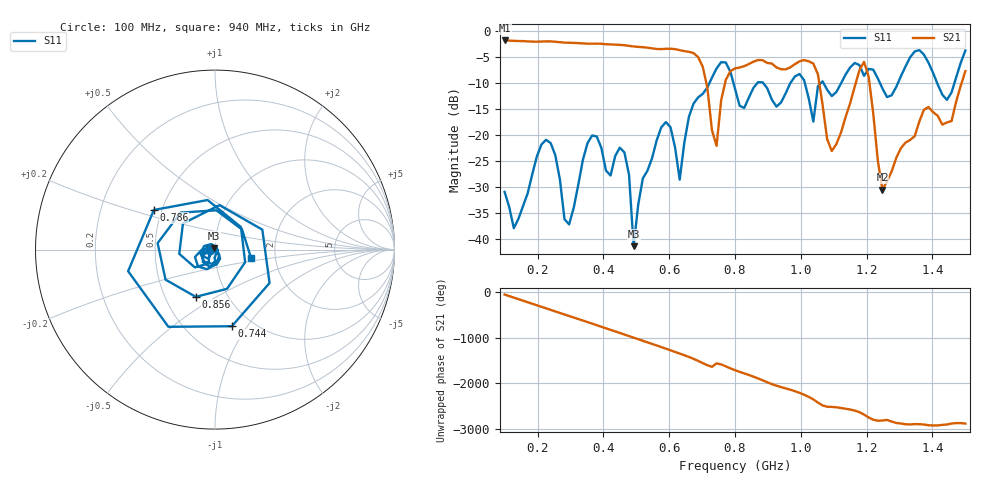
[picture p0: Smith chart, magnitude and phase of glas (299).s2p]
! NanoVNA-App
! Date: 2025-09-25 15:57:48
! Start: 100MHz Stop: 1,5GHz Points: 101
! S-Parameter data: F S11 S21 S12 S22
# Hz S RI R 50
!  Frequency  S11_Real  S11_Imag  S21_Real  S21_Imag  S12_Real  S12_Imag  S22_Real  S22_Imag
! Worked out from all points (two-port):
!   101 points, 100 MHz to 1.5 GHz, reference 50 ohm
!   highest |S21| = -1.80 dB at 100 MHz (marker M1); lowest = -30.5 dB at 1.248 GHz (marker M2)
!   |S21| within 3 dB of the highest: start of sweep to 684.3 MHz
!   lowest |S11| = -41.4 dB at 492 MHz (marker M3), VSWR 1.02, Z = 49.5 + j0.659 ohm
!   |S11| at or under -10 dB: start of sweep to 722.4 MHz; 795.3 MHz to 867.8 MHz (72.5 MHz wide, 8.72 % of centre); 885.8 MHz to 968.3 MHz (82.48 MHz wide, 8.9 % of centre) (the widest 3 of 7)
!   S12 and S22 are empty: the file has one direction only
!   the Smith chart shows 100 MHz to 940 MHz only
!   S11 on the Smith chart (normalised r, x): 100 MHz: 0.95, -0.01; 744 MHz: 0.81, -0.85; 786 MHz: 0.45, +0.24; 856 MHz: 0.71, -0.41; 940 MHz: 1.49, -0.14
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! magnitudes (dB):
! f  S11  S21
! 100 MHz  -30.9  -1.8
! 128 MHz  -37.9  -1.9
! 226 MHz  -20.9  -2.0
! 296 MHz  -37.2  -2.2
! 338 MHz  -24.7  -2.4
! 464 MHz  -23.3  -2.7
! 492 MHz  -41.4  -3.0
! 576 MHz  -18.5  -3.5
! 632 MHz  -28.6  -3.7
! 702 MHz  -12.1  -6.9
! 744 MHz  -7.2  -22.1
! 786 MHz  -7.8  -7.7
! 800 MHz  -11.1  -7.2
! 856 MHz  -10.9  -5.9
! 940 MHz  -13.7  -7.3
! 996 MHz  -8.3  -5.8
! 1.038 GHz  -17.4  -6.2
! 1.094 GHz  -12.5  -23.1
! 1.192 GHz  -8.6  -5.9
! 1.248 GHz  -11.0  -30.5
! 1.276 GHz  -12.3  -27.0
! 1.5 GHz  -3.7  -7.7
